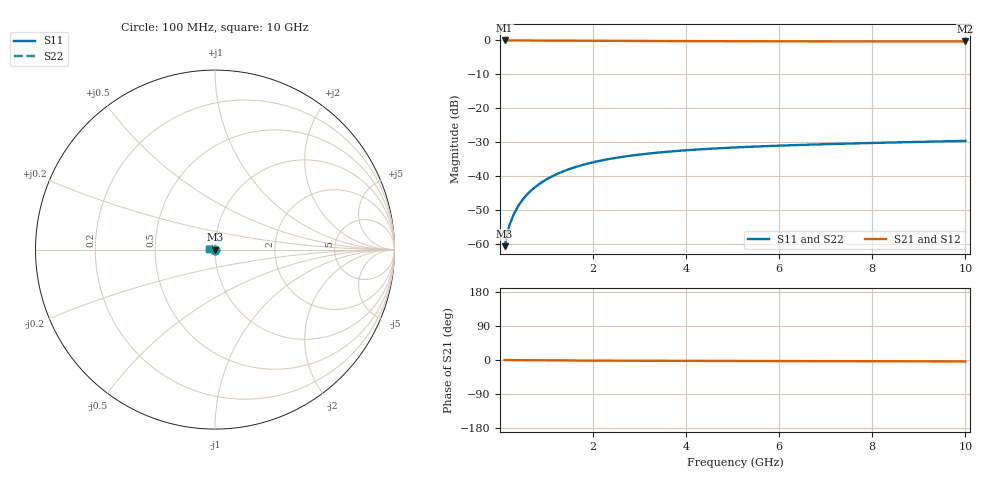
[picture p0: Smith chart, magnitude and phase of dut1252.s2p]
! Touchstone file exported from HFSS 2024.1.0
!  File:  C:/UserFiles/LocalFiles/RDL_TSV_Batchsim/temp_TSV1_1252_1780252495.aedt
!  Generated:  02:44:58 AM Jun  1, 2026
!  Design:  TSV1
!  Project:  temp_TSV1_1252_1780252495
!  Setup:  Setup1
!  Solution:  Sweep
! Variables:
!  dtsv = 12.33um
!  hbump = 3um
!  htsv = 53.2um
!  lrdl = 252.1521522um
!  p = 40
!  p1 = 58.79um
!  t = 500um
!  trdl = 3um
!  wrdl = 24.89489489um
# GHz S MA R 50.000000
! Terminal data exported
! Port[1] = TSV22_T1
! Port[2] = TSV22_T2
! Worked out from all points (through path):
!   100 points, 100 MHz to 10 GHz, reference 50 ohm
!   highest |S21| = 0.00 dB at 100 MHz (marker M1); lowest = -0.3 dB at 10 GHz (marker M2)
!   lowest |S11| = -60.5 dB at 100 MHz (marker M3), VSWR 1.00, Z = 50 - j0.0938 ohm
!   |S11| at or under -10 dB: start of sweep to end of sweep
!   |S22| runs from -60.5 to -29.6 dB; largest |S21 - S12| = 2e-15
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0.1  0.0009391 -87.6  0.9999 -0.1  0.9999 -0.1  0.0009391 -87.6
! Gamma 0 0 0 0
! Port Impedance 50 0 50 0
0.2  0.001874 -91.7  0.9998 -0.2  0.9998 -0.2  0.001874 -91.7
0.3  0.002809 -94.5  0.9996 -0.3  0.9996 -0.3  0.002809 -94.5
0.4  0.003738 -96.9  0.9993 -0.4  0.9993 -0.4  0.003738 -96.9
0.5  0.004658 -99.1  0.999 -0.5  0.999 -0.5  0.004658 -99.1
0.6  0.005567 -101.3  0.9987 -0.6  0.9987 -0.6  0.005567 -101.3
0.7  0.00646 -103.4  0.9982 -0.6  0.9982 -0.6  0.00646 -103.4
0.8  0.007337 -105.5  0.9978 -0.7  0.9978 -0.7  0.007337 -105.5
0.9  0.008194 -107.6  0.9973 -0.8  0.9973 -0.8  0.008194 -107.6
1.1  0.009845 -111.5  0.9961 -1.0  0.9961 -1.0  0.009845 -111.5
1.4  0.01215 -117.1  0.9942 -1.2  0.9942 -1.2  0.01215 -117.1
1.6  0.01356 -120.6  0.9928 -1.3  0.9928 -1.3  0.01356 -120.6
1.8  0.01488 -124.0  0.9914 -1.4  0.9914 -1.4  0.01488 -124.0
2.1  0.01668 -128.8  0.9893 -1.6  0.9893 -1.6  0.01668 -128.8
2.5  0.01876 -134.6  0.9866 -1.8  0.9866 -1.8  0.01876 -134.6
2.9  0.02053 -139.8  0.984 -1.9  0.984 -1.9  0.02053 -139.8
3.4  0.02239 -145.7  0.9812 -2.1  0.9812 -2.1  0.02239 -145.7
4.2  0.02473 -153.8  0.9774 -2.3  0.9774 -2.3  0.02473 -153.8
5.1  0.02673 -161.5  0.9741 -2.6  0.9741 -2.6  0.02673 -161.5
6.7  0.02935 -172.5  0.9701 -2.9  0.9701 -2.9  0.02935 -172.5
8.4  0.03148 178.2  0.9674 -3.3  0.9674 -3.3  0.03148 178.2
10  0.03324 170.8  0.9657 -3.7  0.9657 -3.7  0.03324 170.8
